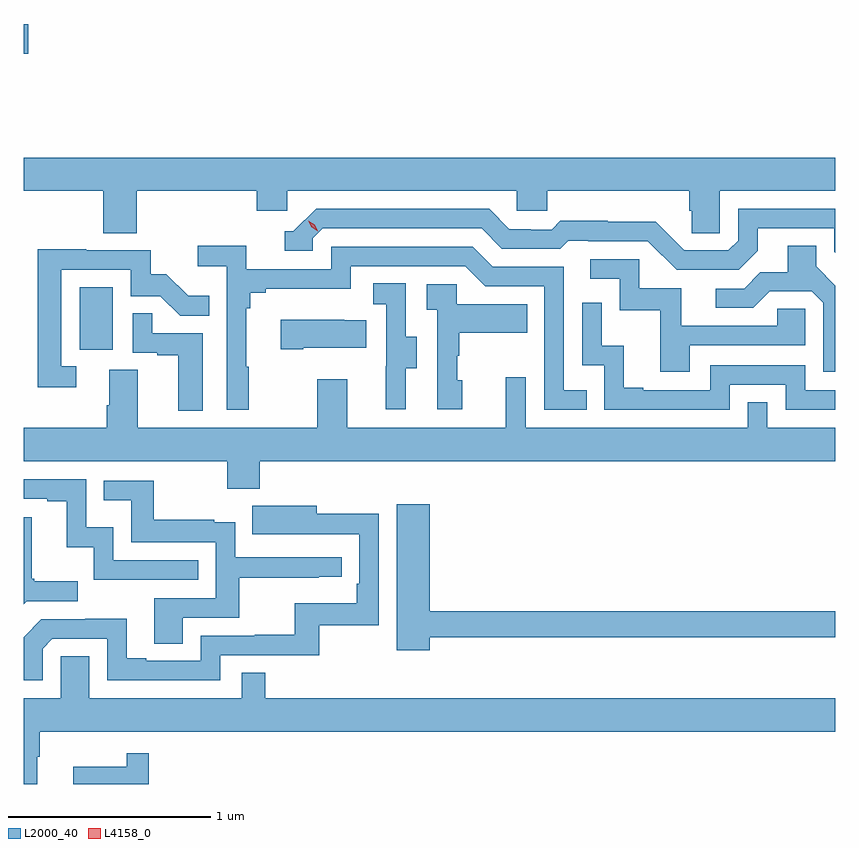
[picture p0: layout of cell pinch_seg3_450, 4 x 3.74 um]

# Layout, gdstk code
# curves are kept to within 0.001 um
import gdstk
lib = gdstk.Library(unit=1e-6, precision=1e-09)
def R(c, l, rs):  # rectangles x0, y0, x1, y1
    for r in rs: c.add(gdstk.rectangle(r[:2], r[2:], *l))
def P(c, l, *ps):  # polygons
    for p in ps: c.add(gdstk.Polygon(p, *l))
L2000_40 = (2000, 40)
L4158_0 = (4158, 0)

pinch_seg3_450 = lib.new_cell('pinch_seg3_450')
R(pinch_seg3_450, L2000_40, [(901.472,673.494,901.636,673.801), (901.196,674.951,901.219,675.098)])
P(pinch_seg3_450, L2000_40, [(901.754,674.276),(902.345,674.276),(902.345,674.178),(902.496,674.178),(902.496,674.276),(903.627,674.276),(903.627,674.178),(903.777,674.178),(903.777,674.276),(904.475,674.276),(904.475,674.178),(904.489,674.178),(904.489,674.068),(904.626,674.068),(904.626,674.276),(905.196,674.276),(905.196,674.44),(901.196,674.44),(901.196,674.276),(901.589,674.276),(901.589,674.068),(901.754,674.068)],
  [(904.813,673.981),(904.813,674.091),(905.19,674.091),(905.19,673.977),(905.196,673.971),(905.196,674.187),(904.716,674.187),(904.716,674.031),(904.668,673.983),(904.452,673.983),(904.31,674.125),(904.074,674.125),(904.074,674.128),(903.841,674.128),(903.799,674.085),(903.696,674.085),(903.696,674.088),(903.589,674.088),(903.49,674.187),(902.637,674.187),(902.526,674.076),(902.483,674.076),(902.483,673.98),(902.622,673.98),(902.622,674.043),(902.67,674.091),(903.453,674.091),(903.552,673.992),(903.841,673.992),(903.88,674.031),(903.979,674.031),(903.979,674.028),(904.272,674.028),(904.413,673.887),(904.719,673.887)],
  [(902.305,673.409),(902.293,673.409),(902.293,673.697),(902.312,673.697),(902.312,673.774),(902.389,673.774),(902.389,673.793),(902.808,673.793),(902.808,673.905),(903.372,673.905),(903.471,673.806),(903.762,673.806),(903.762,673.197),(903.971,673.197),(903.971,673.293),(903.858,673.293),(903.858,673.902),(903.508,673.902),(903.409,674.001),(902.712,674.001),(902.712,673.89),(902.294,673.89),(902.294,674.006),(902.055,674.006),(902.055,673.904),(902.196,673.904),(902.196,673.197),(902.305,673.197)],
  [(905.196,673.809),(905.101,673.904),(905.101,674.006),(904.961,674.006),(904.961,673.874),(904.826,673.874),(904.746,673.794),(904.605,673.794),(904.605,673.701),(904.792,673.701),(904.873,673.782),(905.079,673.782),(905.136,673.725),(905.136,673.386),(905.196,673.386)],
  [(901.456,673.413),(901.383,673.413),(901.383,673.887),(901.725,673.887),(901.725,673.758),(901.87,673.758),(901.968,673.66),(902.111,673.66),(902.111,673.759),(902.007,673.759),(901.9,673.866),(901.824,673.866),(901.824,673.983),(901.505,673.983),(901.505,673.988),(901.267,673.988),(901.267,673.308),(901.456,673.308)],
  [(904.477,673.515),(905.046,673.515),(905.046,673.695),(904.909,673.695),(904.909,673.611),(904.435,673.611),(904.435,673.797),(904.23,673.797),(904.23,673.938),(903.987,673.938),(903.987,673.842),(904.134,673.842),(904.134,673.689),(904.333,673.689),(904.333,673.386),(904.477,673.386)],
  [(903.079,673.402),(903.133,673.402),(903.133,673.557),(903.078,673.557),(903.078,673.82),(902.919,673.82),(902.919,673.717),(902.982,673.717),(902.982,673.413),(902.981,673.413),(902.981,673.2),(903.079,673.2)],
  [(903.358,673.344),(903.333,673.344),(903.333,673.463),(903.343,673.463),(903.343,673.577),(903.677,673.577),(903.677,673.717),(903.33,673.717),(903.33,673.815),(903.183,673.815),(903.183,673.691),(903.234,673.691),(903.234,673.2),(903.358,673.2)],
  [(904.674,673.32),(904.95,673.32),(904.95,673.197),(905.196,673.197),(905.196,673.293),(905.046,673.293),(905.046,673.416),(904.578,673.416),(904.578,673.293),(904.249,673.293),(904.249,673.306),(904.154,673.306),(904.154,673.514),(904.044,673.514),(904.044,673.726),(903.948,673.726),(903.948,673.416),(904.056,673.416),(904.056,673.197),(904.674,673.197)],
  [(902.08,673.575),(901.829,673.575),(901.829,673.673),(901.734,673.673),(901.734,673.479),(901.855,673.479),(901.855,673.467),(901.958,673.467),(901.958,673.193),(902.08,673.193)],
  [(902.575,673.502),(902.885,673.502),(902.885,673.639),(902.777,673.639),(902.777,673.642),(902.463,673.642),(902.463,673.495),(902.575,673.495)],
  [(902.36,672.944),(905.196,672.944),(905.196,673.108),(904.86,673.108),(904.86,673.235),(904.764,673.235),(904.764,673.108),(903.669,673.108),(903.669,673.357),(903.572,673.357),(903.572,673.108),(902.791,673.108),(902.791,673.348),(902.644,673.348),(902.644,673.108),(901.759,673.108),(901.759,673.394),(901.619,673.394),(901.619,673.22),(901.607,673.22),(901.607,673.108),(901.196,673.108),(901.196,672.944),(902.2,672.944),(902.2,672.809),(902.36,672.809)],
  [(902.057,672.456),(901.638,672.456),(901.638,672.619),(901.506,672.619),(901.506,672.855),(901.196,672.855),(901.196,672.759),(901.313,672.759),(901.313,672.747),(901.409,672.747),(901.409,672.521),(901.542,672.521),(901.542,672.36),(902.057,672.36)],
  [(901.981,672.174),(902.258,672.174),(902.258,672.37),(902.651,672.37),(902.651,672.375),(902.764,672.375),(902.764,672.471),(902.238,672.471),(902.238,672.643),(902.135,672.643),(902.135,672.655),(901.837,672.655),(901.837,672.849),(901.591,672.849),(901.591,672.752),(901.726,672.752),(901.726,672.546),(902.142,672.546),(902.142,672.27),(901.841,672.27),(901.841,672.046),(901.981,672.046)],
  [(903.196,672.078),(905.196,672.078),(905.196,672.206),(903.196,672.206),(903.196,672.733),(903.035,672.733),(903.035,672.012),(903.196,672.012)],
  [(901.29,672.021),(901.338,672.069),(901.608,672.069),(901.608,671.865),(902.166,671.865),(902.166,671.988),(902.653,671.988),(902.653,672.135),(902.946,672.135),(902.946,672.686),(902.641,672.686),(902.641,672.724),(902.323,672.724),(902.323,672.584),(902.85,672.585),(902.85,672.34),(902.837,672.34),(902.837,672.244),(902.532,672.244),(902.532,672.089),(902.335,672.089),(902.335,672.084),(902.07,672.084),(902.07,671.961),(901.801,671.961),(901.801,671.974),(901.705,671.974),(901.705,672.167),(901.5,672.167),(901.5,672.165),(901.284,672.165),(901.196,672.077),(901.196,671.865),(901.29,671.865)],
  [(901.212,672.255),(901.462,672.255),(901.462,672.352),(901.249,672.352),(901.249,672.364),(901.237,672.364),(901.237,672.667),(901.196,672.667),(901.196,672.239)],
  [(901.264,671.489),(901.276,671.489),(901.276,671.612),(905.196,671.612),(905.196,671.776),(902.387,671.776),(902.387,671.903),(902.271,671.903),(902.271,671.776),(901.519,671.776),(901.519,671.984),(901.38,671.984),(901.38,671.776),(901.196,671.776),(901.196,671.354),(901.264,671.354)],
  [(901.812,671.506),(901.704,671.506),(901.704,671.44),(901.442,671.44),(901.442,671.354),(901.812,671.354)])
P(pinch_seg3_450, L4158_0, [(902.645,674.077),(902.615,674.096),(902.599,674.129),(902.599,674.129),(902.599,674.129),(902.63,674.11),(902.646,674.077),(902.646,674.077)])

lib.write_gds('pinch_seg3_450.gds')
